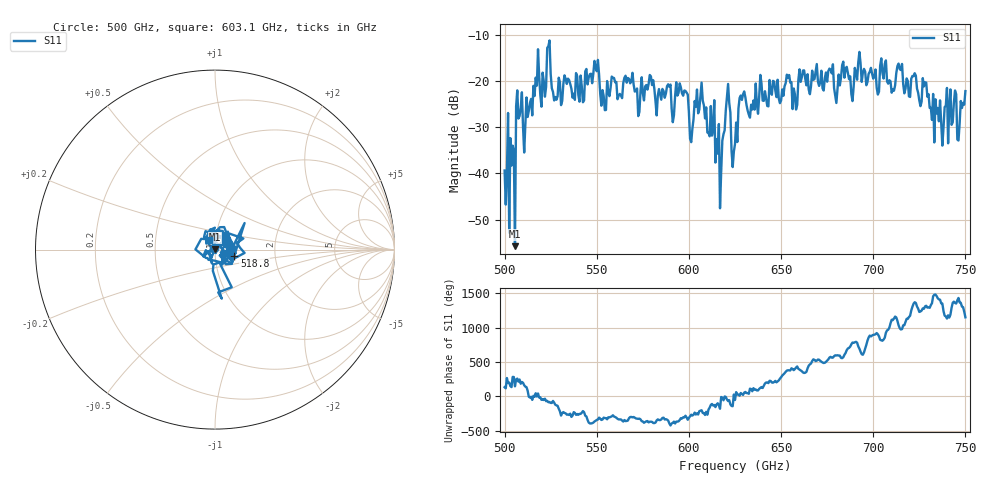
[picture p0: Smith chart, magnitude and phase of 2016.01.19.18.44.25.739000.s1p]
!Created with skrf (http://scikit-rf.org).
# GHz S RI R 50.0
!freq ReS11 ImS11
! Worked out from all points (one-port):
!   401 points, 500 GHz to 750 GHz, reference 50 ohm
!   lowest |S11| = -55.7 dB at 505.6 GHz (marker M1), VSWR 1.00, Z = 49.9 + j0.0916 ohm
!   |S11| at or under -10 dB: start of sweep to end of sweep
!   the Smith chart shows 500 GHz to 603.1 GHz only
!   S11 on the Smith chart (normalised r, x): 500 GHz: 0.99, +0.02; 518.8 GHz: 1.24, -0.09; 603.1 GHz: 0.93, +0.10
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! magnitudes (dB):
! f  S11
! 500 GHz  -39.4
! 505.6 GHz  -55.7
! 507.5 GHz  -28.1
! 511.2 GHz  -29.3
! 518.8 GHz  -19.0
! 524.4 GHz  -11.2
! 526.9 GHz  -24.2
! 531.2 GHz  -24.3
! 550 GHz  -17.9
! 553.8 GHz  -23.2
! 562.5 GHz  -22.8
! 593.8 GHz  -23.1
! 598.1 GHz  -22.1
! 601.2 GHz  -33.2
! 603.1 GHz  -24.3
! 607.5 GHz  -24.2
! 616.9 GHz  -47.5
! 621.2 GHz  -20.6
! 625 GHz  -33.6
! 628.8 GHz  -24.1
! 656.2 GHz  -26.1
! 687.5 GHz  -19.0
! 714.4 GHz  -17.4
! 718.8 GHz  -20.0
! 728.1 GHz  -20.3
! 736.9 GHz  -29.3
! 746.9 GHz  -29.2
! 750 GHz  -22.2
